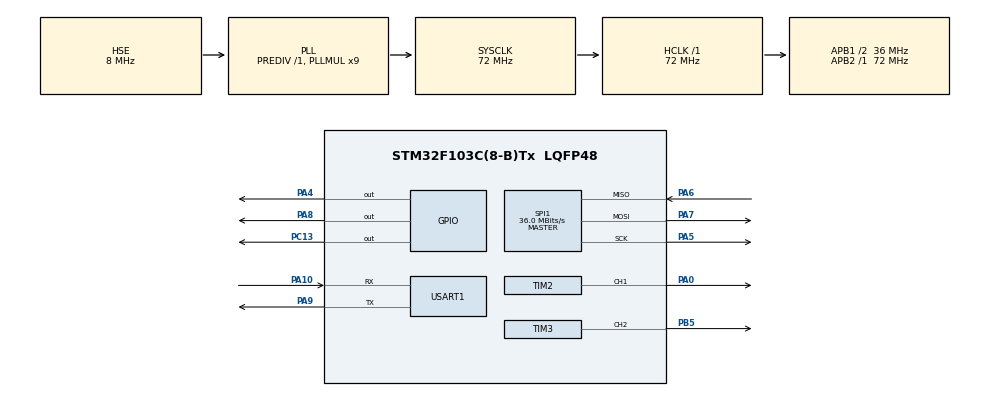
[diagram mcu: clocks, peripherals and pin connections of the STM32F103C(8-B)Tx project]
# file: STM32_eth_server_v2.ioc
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Mcu.Family=STM32F1
Mcu.Name=STM32F103C(8-B)Tx
Mcu.Package=LQFP48
NVIC.PriorityGroup=NVIC_PRIORITYGROUP_4
PA0-WKUP.Signal=S_TIM2_CH1_ETR
PA10.Mode=Asynchronous
PA10.Signal=USART1_RX
PA13.Mode=Serial_Wire
PA13.Signal=SYS_JTMS-SWDIO
PA14.Mode=Serial_Wire
PA14.Signal=SYS_JTCK-SWCLK
PA4.Signal=GPIO_Output
PA5.Mode=Full_Duplex_Master
PA5.Signal=SPI1_SCK
PA6.Mode=Full_Duplex_Master
PA6.Signal=SPI1_MISO
PA7.Mode=Full_Duplex_Master
PA7.Signal=SPI1_MOSI
PA8.Signal=GPIO_Output
PA9.Mode=Asynchronous
PA9.Signal=USART1_TX
PB5.Signal=S_TIM3_CH2
PC13-TAMPER-RTC.Signal=GPIO_Output
PD0-OSC_IN.Mode=HSE-External-Oscillator
PD0-OSC_IN.Signal=RCC_OSC_IN
PD1-OSC_OUT.Mode=HSE-External-Oscillator
PD1-OSC_OUT.Signal=RCC_OSC_OUT
ProjectManager.HeapSize=0x200
ProjectManager.StackSize=0x400
ProjectManager.TargetToolchain=STM32CubeIDE
RCC.AHBFreq_Value=72000000
RCC.APB1CLKDivider=RCC_HCLK_DIV2
RCC.APB1Freq_Value=36000000
RCC.APB1TimFreq_Value=72000000
RCC.APB2Freq_Value=72000000
RCC.APB2TimFreq_Value=72000000
RCC.HCLKFreq_Value=72000000
RCC.PLLMUL=RCC_PLL_MUL9
RCC.PLLSourceVirtual=RCC_PLLSOURCE_HSE
RCC.SYSCLKFreq_VALUE=72000000
RCC.SYSCLKSource=RCC_SYSCLKSOURCE_PLLCLK
RCC.USBFreq_Value=72000000
SH.S_TIM2_CH1_ETR.0=TIM2_CH1,PWM Generation1 CH1
SH.S_TIM3_CH2.0=TIM3_CH2,PWM Generation2 CH2
SPI1.BaudRatePrescaler=SPI_BAUDRATEPRESCALER_2
SPI1.CalculateBaudRate=36.0 MBits/s
SPI1.Direction=SPI_DIRECTION_2LINES
SPI1.Mode=SPI_MODE_MASTER
SPI1.VirtualType=VM_MASTER
TIM2.Channel-PWM\ Generation1\ CH1=TIM_CHANNEL_1
TIM2.Period=999
TIM2.Prescaler=1439
TIM3.Channel-PWM\ Generation2\ CH2=TIM_CHANNEL_2
TIM3.Period=999
TIM3.Prescaler=1439
USART1.VirtualMode=VM_ASYNC
board=custom

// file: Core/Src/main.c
/* USER CODE BEGIN Header */
/**
  ******************************************************************************
  * @file           : main.c
  * @brief          : Main program body
  ******************************************************************************
  * @attention
  *
  * <h2><center>&copy; Copyright (c) 2020 STMicroelectronics.
  * All rights reserved.</center></h2>
  *
  * This software component is licensed by ST under BSD 3-Clause license,
  * the "License"; You may not use this file except in compliance with the
  * License. You may obtain a copy of the License at:
  *                        opensource.org/licenses/BSD-3-Clause
  *
  ******************************************************************************
  */
/* USER CODE END Header */

#include "main.h"

SPI_HandleTypeDef hspi1;

TIM_HandleTypeDef htim2;
TIM_HandleTypeDef htim3;

UART_HandleTypeDef huart1;

void SystemClock_Config(void);
static void MX_GPIO_Init(void);
static void MX_SPI1_Init(void);
static void MX_TIM2_Init(void);
static void MX_TIM3_Init(void);
static void MX_USART1_UART_Init(void);
/* USER CODE BEGIN PFP */

void prendeLED(void);
void apagaLED(void);

void translate(char* msg, int8_t* rcv);
void sirena (uint8_t _sirena);
void parpadea (void);
/* USER CODE END PFP */

/* USER CODE BEGIN 0 */

uint8_t socketNum = 0;
enum _estadoPa {sINIT, sFINISH, sWORK, sERROR, sCLOSE} estadoP;

/* USER CODE END 0 */

int main(void)
{
  /* USER CODE BEGIN 1 */

	uint8_t bufSize[] = {16, 0, 0, 0, 0, 0, 0, 0};
//	uint8_t serverIP = 0;

	static uint16_t count;
	static uint16_t count2;

	int8_t _stateJoyX;
	int8_t _stateJoyY;
	uint8_t _stateSirena;
	int8_t rcv[3];
//	uint8_t snd[1];
	char bufmsg[60];
	uint8_t bufmsg2[4];
//	int8_t stateTx;
//	int8_t stateRx;
//	uint8_t stateRetarget;
//	uint8_t statusSocket;
	uint16_t len = 0;

	bool estadoPi = false;
  /* USER CODE END 1 */

  /* MCU Configuration--------------------------------------------------------*/

  /* Reset of all peripherals, Initializes the Flash interface and the Systick. */
  HAL_Init();

  /* Configure the system clock */
  SystemClock_Config();

  /* Initialize all configured peripherals */
  MX_GPIO_Init();
  MX_SPI1_Init();
  MX_TIM2_Init();
  MX_TIM3_Init();
  MX_USART1_UART_Init();
  /* USER CODE BEGIN 2 */

  PRINT_HEADER();

  initServer(socketNum, bufSize);
//  initServo(&htim2,&htim3);

  estadoP = sCLOSE;
  count = 0;
  count2 = 0;
  /* USER CODE END 2 */

  /* Infinite loop */
  while (1) {
	  switch(estadoP){

		  case sINIT:
			  __NOP();
			  if(estadoPi == false){
				  initServo(&htim2,&htim3);
				  estadoPi = true;
				  estadoP = sWORK;
				  parpadea();

			  }
			  else estadoP += 1;
			  count = 0;
			  break;

		  case sFINISH:
			  __NOP();
			  finishServo(&htim2,&htim3);
			  apagaLED();
			  estadoPi = false;
			  estadoP = sCLOSE;
			  count2 = 0;
			  count = 0;
			  break;

			  //EMPIEZA 2DO SWITCH FUNCIONAMIENTO MODULO
		  case sWORK:
			  __NOP();
			  //0: Desconectado
			  //1: Conectado
			  if(estadoWire() == 1) estadoP = sERROR;
			  else			//Sacamos corchetes del else, para ver si absorbe toda la funcion.
				  switch(getSn_SR(socketNum)){
			  	  case SOCK_INIT:
					  HAL_Delay(50);
					  listen(socketNum);
					  break;
			  	  case SOCK_ESTABLISHED:
			  		  HAL_Delay(50);
			  		  len = getSn_RX_RSR(socketNum);
					  if(len > 0) {
						  recv(socketNum, bufmsg, len);
/*
* problema con esta funcion se me despelotan los contadores
* VERIFICAR:
* 	- porque se modifican contadores count y count2. (Ver la definicion de sus variables)
* 	- Funcion recv() bufmsg es un puntero a un entero sin signo OJO! (ver). Quizas
* 	  conviene usar un array entero.
* @note: en bitacora tengo asentado que se modificaron variables contadoras como static.
* 		Lo que provocaría que al salir de contexto de ejecución se mantiene el valor en
* 		mem. Igualmente se recomienda indagar en Warning.
*/
						  translate(bufmsg,rcv);
//						  _stateJoyX = bufmsg2[0];
//						  _stateJoyY = bufmsg2[1];
//						  _stateSirena = bufmsg2[2];
						  _stateJoyX = rcv[0];
						  _stateJoyY = rcv[1];
						  _stateSirena = rcv[2];
						  movServo(&htim2, _stateJoyX, 1);
						  movServo(&htim3, _stateJoyY, 2);
						  sirena(_stateSirena);
			//			  PRINT_STR(bufmsg);
						  PRINT_VALUE(rcv);
					  }
					  break;
				  case SOCK_CLOSE_WAIT:
					  HAL_Delay(50);
					  close(socketNum);
					  break;
				  case SOCK_CLOSED:
					  HAL_Delay(50);
					  socket(socketNum,Sn_MR_TCP,TCP_PORT,SF_TCP_NODELAY);
					  break;
			  	  }

			  break;

		  case sERROR:
			  __NOP();
			  parpadea();
			  if(estadoWire() == 0) estadoP = sWORK;
			  count2++;
			  if(count2 > 5) estadoP = sFINISH;
			  break;

		  case sCLOSE:
			  __NOP();
			  count++;
			  if(count > 5) estadoP = sINIT;
			  break;
		  }

  }
}

void SystemClock_Config(void)
{
  RCC_OscInitTypeDef RCC_OscInitStruct = {0};
  RCC_ClkInitTypeDef RCC_ClkInitStruct = {0};

  /** Initializes the CPU, AHB and APB busses clocks
  */
  RCC_OscInitStruct.OscillatorType = RCC_OSCILLATORTYPE_HSE;
  RCC_OscInitStruct.HSEState = RCC_HSE_ON;
  RCC_OscInitStruct.HSEPredivValue = RCC_HSE_PREDIV_DIV1;
  RCC_OscInitStruct.HSIState = RCC_HSI_ON;
  RCC_OscInitStruct.PLL.PLLState = RCC_PLL_ON;
  RCC_OscInitStruct.PLL.PLLSource = RCC_PLLSOURCE_HSE;
  RCC_OscInitStruct.PLL.PLLMUL = RCC_PLL_MUL9;
  if (HAL_RCC_OscConfig(&RCC_OscInitStruct) != HAL_OK)
  {
    Error_Handler();
  }
  /** Initializes the CPU, AHB and APB busses clocks
  */
  RCC_ClkInitStruct.ClockType = RCC_CLOCKTYPE_HCLK|RCC_CLOCKTYPE_SYSCLK
                              |RCC_CLOCKTYPE_PCLK1|RCC_CLOCKTYPE_PCLK2;
  RCC_ClkInitStruct.SYSCLKSource = RCC_SYSCLKSOURCE_PLLCLK;
  RCC_ClkInitStruct.AHBCLKDivider = RCC_SYSCLK_DIV1;
  RCC_ClkInitStruct.APB1CLKDivider = RCC_HCLK_DIV2;
  RCC_ClkInitStruct.APB2CLKDivider = RCC_HCLK_DIV1;

  if (HAL_RCC_ClockConfig(&RCC_ClkInitStruct, FLASH_LATENCY_2) != HAL_OK)
  {
    Error_Handler();
  }
}

static void MX_SPI1_Init(void)
{

  /* SPI1 parameter configuration*/
  hspi1.Instance = SPI1;
  hspi1.Init.Mode = SPI_MODE_MASTER;
  hspi1.Init.Direction = SPI_DIRECTION_2LINES;
  hspi1.Init.DataSize = SPI_DATASIZE_8BIT;
  hspi1.Init.CLKPolarity = SPI_POLARITY_LOW;
  hspi1.Init.CLKPhase = SPI_PHASE_1EDGE;
  hspi1.Init.NSS = SPI_NSS_SOFT;
  hspi1.Init.BaudRatePrescaler = SPI_BAUDRATEPRESCALER_2;
  hspi1.Init.FirstBit = SPI_FIRSTBIT_MSB;
  hspi1.Init.TIMode = SPI_TIMODE_DISABLE;
  hspi1.Init.CRCCalculation = SPI_CRCCALCULATION_DISABLE;
  hspi1.Init.CRCPolynomial = 10;
  if (HAL_SPI_Init(&hspi1) != HAL_OK)
  {
    Error_Handler();
  }

}

static void MX_TIM2_Init(void)
{

  TIM_MasterConfigTypeDef sMasterConfig = {0};
  TIM_OC_InitTypeDef sConfigOC = {0};

  htim2.Instance = TIM2;
  htim2.Init.Prescaler = 1439;
  htim2.Init.CounterMode = TIM_COUNTERMODE_UP;
  htim2.Init.Period = 999;
  htim2.Init.ClockDivision = TIM_CLOCKDIVISION_DIV1;
  htim2.Init.AutoReloadPreload = TIM_AUTORELOAD_PRELOAD_DISABLE;
  if (HAL_TIM_PWM_Init(&htim2) != HAL_OK)
  {
    Error_Handler();
  }
  sMasterConfig.MasterOutputTrigger = TIM_TRGO_RESET;
  sMasterConfig.MasterSlaveMode = TIM_MASTERSLAVEMODE_DISABLE;
  if (HAL_TIMEx_MasterConfigSynchronization(&htim2, &sMasterConfig) != HAL_OK)
  {
    Error_Handler();
  }
  sConfigOC.OCMode = TIM_OCMODE_PWM1;
  sConfigOC.Pulse = 0;
  sConfigOC.OCPolarity = TIM_OCPOLARITY_HIGH;
  sConfigOC.OCFastMode = TIM_OCFAST_DISABLE;
  if (HAL_TIM_PWM_ConfigChannel(&htim2, &sConfigOC, TIM_CHANNEL_1) != HAL_OK)
  {
    Error_Handler();
  }
  HAL_TIM_MspPostInit(&htim2);

}

static void MX_TIM3_Init(void)
{

  TIM_MasterConfigTypeDef sMasterConfig = {0};
  TIM_OC_InitTypeDef sConfigOC = {0};

  htim3.Instance = TIM3;
  htim3.Init.Prescaler = 1439;
  htim3.Init.CounterMode = TIM_COUNTERMODE_UP;
  htim3.Init.Period = 999;
  htim3.Init.ClockDivision = TIM_CLOCKDIVISION_DIV1;
  htim3.Init.AutoReloadPreload = TIM_AUTORELOAD_PRELOAD_DISABLE;
  if (HAL_TIM_PWM_Init(&htim3) != HAL_OK)
  {
    Error_Handler();
  }
  sMasterConfig.MasterOutputTrigger = TIM_TRGO_RESET;
  sMasterConfig.MasterSlaveMode = TIM_MASTERSLAVEMODE_DISABLE;
  if (HAL_TIMEx_MasterConfigSynchronization(&htim3, &sMasterConfig) != HAL_OK)
  {
    Error_Handler();
  }
  sConfigOC.OCMode = TIM_OCMODE_PWM1;
  sConfigOC.Pulse = 0;
  sConfigOC.OCPolarity = TIM_OCPOLARITY_HIGH;
  sConfigOC.OCFastMode = TIM_OCFAST_DISABLE;
  if (HAL_TIM_PWM_ConfigChannel(&htim3, &sConfigOC, TIM_CHANNEL_2) != HAL_OK)
  {
    Error_Handler();
  }
  HAL_TIM_MspPostInit(&htim3);

}

static void MX_USART1_UART_Init(void)
{

  huart1.Instance = USART1;
  huart1.Init.BaudRate = 115200;
  huart1.Init.WordLength = UART_WORDLENGTH_8B;
  huart1.Init.StopBits = UART_STOPBITS_1;
  huart1.Init.Parity = UART_PARITY_NONE;
  huart1.Init.Mode = UART_MODE_TX_RX;
  huart1.Init.HwFlowCtl = UART_HWCONTROL_NONE;
  huart1.Init.OverSampling = UART_OVERSAMPLING_16;
  if (HAL_UART_Init(&huart1) != HAL_OK)
  {
    Error_Handler();
  }

}

static void MX_GPIO_Init(void)
{
  GPIO_InitTypeDef GPIO_InitStruct = {0};

  /* GPIO Ports Clock Enable */
  __HAL_RCC_GPIOC_CLK_ENABLE();
  __HAL_RCC_GPIOD_CLK_ENABLE();
  __HAL_RCC_GPIOA_CLK_ENABLE();
  __HAL_RCC_GPIOB_CLK_ENABLE();

  /*Configure GPIO pin Output Level */
  HAL_GPIO_WritePin(GPIOC, GPIO_PIN_13, GPIO_PIN_SET);

  /*Configure GPIO pin Output Level */
  HAL_GPIO_WritePin(GPIOA, GPIO_PIN_4|GPIO_PIN_8, GPIO_PIN_RESET);

  /*Configure GPIO pin : PC13 */
  GPIO_InitStruct.Pin = GPIO_PIN_13;
  GPIO_InitStruct.Mode = GPIO_MODE_OUTPUT_PP;
  GPIO_InitStruct.Pull = GPIO_NOPULL;
  GPIO_InitStruct.Speed = GPIO_SPEED_FREQ_LOW;
  HAL_GPIO_Init(GPIOC, &GPIO_InitStruct);

  /*Configure GPIO pins : PA4 PA8 */
  GPIO_InitStruct.Pin = GPIO_PIN_4|GPIO_PIN_8;
  GPIO_InitStruct.Mode = GPIO_MODE_OUTPUT_PP;
  GPIO_InitStruct.Pull = GPIO_NOPULL;
  GPIO_InitStruct.Speed = GPIO_SPEED_FREQ_LOW;
  HAL_GPIO_Init(GPIOA, &GPIO_InitStruct);

}

/* USER CODE BEGIN 4 */

void prendeLED(void){
	  HAL_GPIO_WritePin(GPIOC, GPIO_PIN_13, GPIO_PIN_RESET);
}

void apagaLED(void){
	  HAL_GPIO_WritePin(GPIOC, GPIO_PIN_13, GPIO_PIN_SET);
}

void translate(char* msg, int8_t* rcv){
	static uint8_t i, j;
	j = 0;
	for(i = 0 ; i < 9 ; i++ ){

			if(*(msg+i) == 48){
				rcv[j] = 0;
				j++;
			}
			if(*(msg+i) == 49) {
				rcv[j] = 1;
				j++;
			}
			if(*(msg+i) == 50) {
				rcv[j] = 2;
				j++;
			}
			if(*(msg+i) == 51) {
				rcv[j] = 3;
				j++;
			}
			if(j == 3) i = 8;

	}
}

void sirena (uint8_t _sirena){
	if(_sirena == 1) HAL_GPIO_WritePin(GPIOC, GPIO_PIN_13, GPIO_PIN_RESET);
	if(_sirena == 0) HAL_GPIO_WritePin(GPIOC, GPIO_PIN_13, GPIO_PIN_SET);
}

void parpadea (void){
	uint8_t i =0;
	while(i < 5){
		prendeLED();
		HAL_Delay(50);
		apagaLED();
		HAL_Delay(50);
		i++;
	}
}

/* USER CODE END 4 */

void Error_Handler(void)
{
}

/************************ (C) COPYRIGHT STMicroelectronics *****END OF FILE****/
